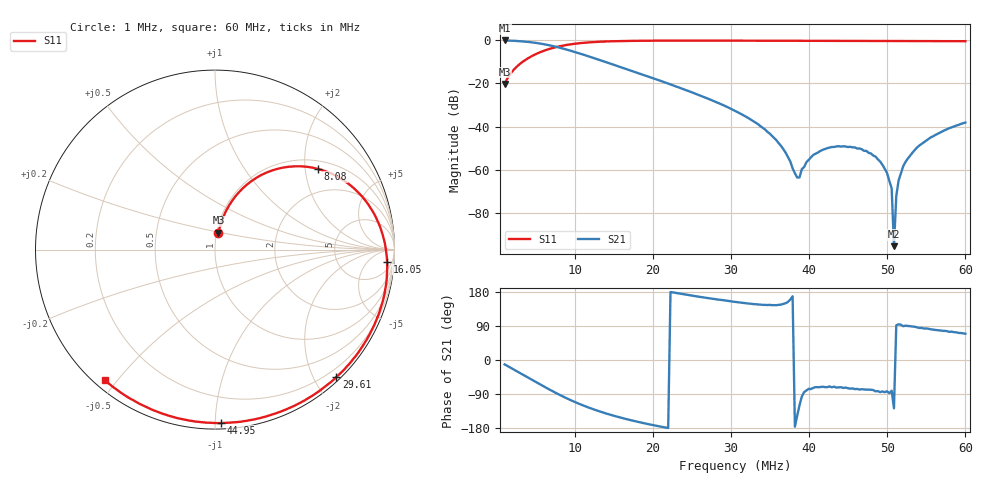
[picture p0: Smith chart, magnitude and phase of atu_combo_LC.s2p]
! S11/S21 from S-A-A-2 VNA
! Written 2026-11-14 07:46:45 by the saav2 MCP server
! S12 and S22 were not measured (1.5-port VNA) and are written as 0
# HZ S RI R 50
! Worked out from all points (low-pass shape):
!   201 points, 1 MHz to 60 MHz, reference 50 ohm
!   highest |S21| = -0.08 dB at 1 MHz (marker M1); lowest = -95.5 dB at 50.85 MHz (marker M2)
!   |S21| within 3 dB of the highest: start of sweep to 7.649 MHz
!   lowest |S11| = -20.3 dB at 1 MHz (marker M3), VSWR 1.21, Z = 51 + j9.74 ohm
!   |S11| at or under -10 dB: start of sweep to 3.308 MHz
!   S12 and S22 are empty: the file has one direction only
!   S11 on the Smith chart (normalised r, x): 1 MHz: 1.02, +0.19; 8.08 MHz: 1.22, +2.34; 16.05 MHz: 13, -22; 29.61 MHz: 0.06, -2.33; 44.95 MHz: 0.03, -1.04; 60 MHz: 0.03, -0.46
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1000000  0.0192 0.0945  0.9707 -0.1983  0 0  0 0
2475000  0.0674 0.2267  0.8486 -0.4617  0 0  0 0
4540000  0.205 0.3832  0.5418 -0.7101  0 0  0 0
8080000  0.5726 0.4498  -0.0276 -0.67  0 0  0 0
1.103e7  0.8197 0.2954  -0.232 -0.4059  0 0  0 0
1.6045e7  0.9587 -0.0664  -0.207 -0.105  0 0  0 0
2.0765e7  0.9167 -0.3465  -0.1176 -0.0104  0 0  0 0
2.9615e7  0.6758 -0.7112  -0.0254 0.0114  0 0  0 0
3.05e7  0.6449 -0.7386  -0.0207 0.0104  0 0  0 0
3.581e7  0.4402 -0.8711  -0.00391 0.00277  0 0  0 0
3.8465e7  0.3277 -0.916  -0.000549 -0.000358  0 0  0 0
4.053e7  0.2368 -0.9416  0.000624 -0.00211  0 0  0 0
4.4955e7  0.0357 -0.9663  0.000895 -0.00322  0 0  0 0
4.8495e7  -0.1284 -0.9546  0.000257 -0.00199  0 0  0 0
5.0265e7  -0.2097 -0.9389  2.32e-05 -0.000542  0 0  0 0
5.056e7  -0.2233 -0.9351  5.74e-05 -0.000364  0 0  0 0
5.0855e7  -0.2368 -0.9318  -1.02e-05 -1.33e-05  0 0  0 0
5.1445e7  -0.263 -0.924  -4.13e-05 0.000555  0 0  0 0
5.2035e7  -0.2899 -0.9153  1.44e-05 0.00119  0 0  0 0
5.3215e7  -0.3421 -0.8953  6.64e-05 0.00247  0 0  0 0
5.5575e7  -0.4424 -0.8469  0.00088 0.00554  0 0  0 0
6e7  -0.6154 -0.7266  0.00437 0.0116  0 0  0 0
